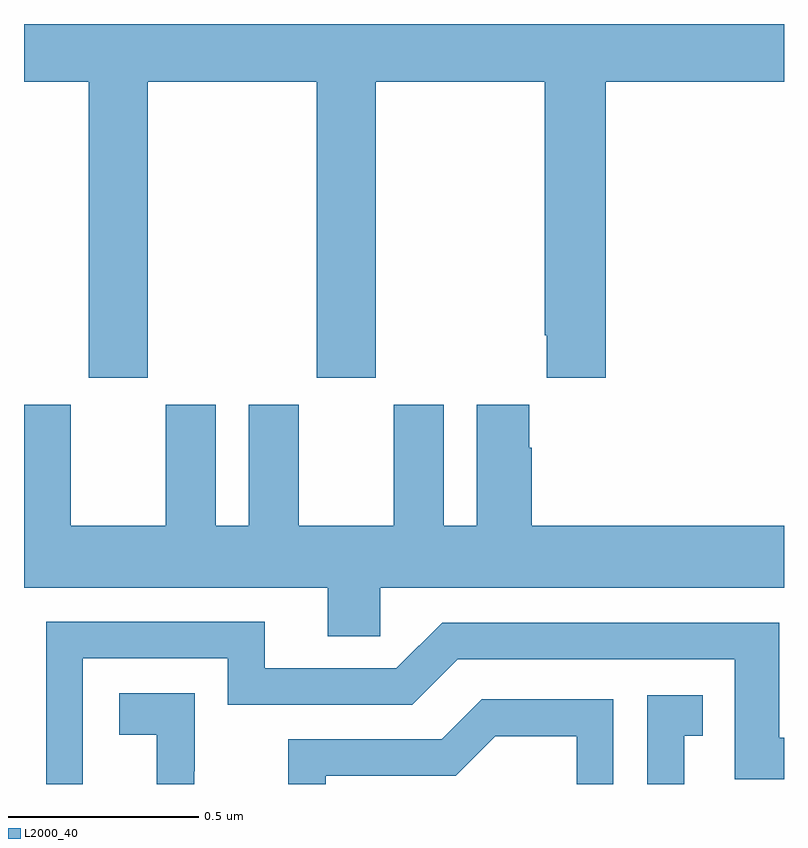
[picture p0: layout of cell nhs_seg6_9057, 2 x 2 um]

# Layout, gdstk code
import gdstk
lib = gdstk.Library(unit=1e-6, precision=1e-09)
def P(c, l, *ps):  # polygons
    for p in ps: c.add(gdstk.Polygon(p, *l))
L2000_40 = (2000, 40)

nhs_seg6_9057 = lib.new_cell('nhs_seg6_9057')
P(nhs_seg6_9057, L2000_40, [(230.371,934.681),(230.375,934.681),(230.375,934.569),(230.531,934.569),(230.531,935.348),(231,935.348),(231,935.5),(229,935.5),(229,935.348),(229.171,935.348),(229.171,934.569),(229.326,934.569),(229.326,935.348),(229.771,935.348),(229.771,934.569),(229.926,934.569),(229.926,935.348),(230.371,935.348)],
  [(229.938,934.016),(231,934.016),(231,934.18),(230.336,934.18),(230.336,934.385),(230.329,934.385),(230.329,934.498),(230.192,934.498),(230.192,934.18),(230.104,934.18),(230.104,934.498),(229.973,934.498),(229.973,934.18),(229.723,934.18),(229.723,934.498),(229.592,934.498),(229.592,934.18),(229.504,934.18),(229.504,934.498),(229.373,934.498),(229.373,934.18),(229.123,934.18),(229.123,934.498),(229,934.498),(229,934.016),(229.799,934.016),(229.799,933.889),(229.938,933.889)],
  [(229.155,933.831),(229.536,933.831),(229.536,933.708),(230.022,933.708),(230.142,933.828),(230.871,933.828),(230.871,933.513),(231,933.513),(231,933.622),(230.987,933.622),(230.987,933.924),(230.1,933.924),(229.98,933.804),(229.633,933.804),(229.633,933.927),(229.059,933.927),(229.059,933.5),(229.155,933.5)],
  [(229.448,933.533),(229.449,933.533),(229.449,933.739),(229.251,933.739),(229.251,933.629),(229.349,933.629),(229.349,933.5),(229.448,933.5)],
  [(230.737,933.627),(230.786,933.627),(230.786,933.733),(230.64,933.733),(230.64,933.5),(230.737,933.5)],
  [(229.794,933.522),(230.136,933.522),(230.24,933.626),(230.454,933.626),(230.454,933.5),(230.55,933.5),(230.55,933.723),(230.204,933.723),(230.099,933.618),(229.696,933.618),(229.696,933.5),(229.794,933.5)])

lib.write_gds('nhs_seg6_9057.gds')
